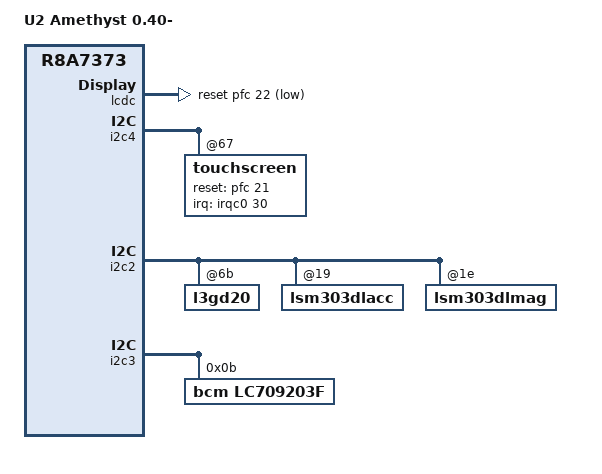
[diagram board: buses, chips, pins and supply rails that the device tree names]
/******************************************************************************/
/*                                                                            */
/* Copyright 2014 Broadcom Corporation                                        */
/*                                                                            */
/* Unless you and Broadcom execute a separate written software license        */
/* agreement governing use of this software, this software is licensed        */
/* to you under the terms of the GNU General Public License version 2         */
/* (the GPL), available at                                                    */
/*                                                                            */
/* http://www.broadcom.com/licenses/GPLv2.php                                 */
/*                                                                            */
/* with the following added to such license:                                  */
/*                                                                            */
/* As a special exception, the copyright holders of this software give        */
/* you permission to link this software with independent modules, and         */
/* to copy and distribute the resulting executable under terms of your        */
/* choice, provided that you also meet, for each linked independent           */
/* module, the terms and conditions of the license of that module.            */
/* An independent module is a module which is not derived from this           */
/* software. The special exception does not apply to any modifications        */
/* of the software.                                                           */
/*                                                                            */
/* Notwithstanding the above, under no circumstances may you combine          */
/* this software in any way with any other Broadcom software provided         */
/* under a license other than the GPL, without Broadcom's express             */
/* prior written consent.                                                     */
/*                                                                            */
/******************************************************************************/

/dts-v1/;
#include "r8a7373.dtsi"
#include "amethyst-common.dtsi"

/{
	model = "U2 Amethyst 0.40-";
	compatible = "renesas,amethyst,r8a7373", "renesas,amethyst", "renesas,r8a7373";

wlan-sdio {
        nv-path = "/system/vendor/firmware/fw_wifi_nvram_amethyst_edn030.txt";
};


};

&lcdc {
	reset-gpio = <&pfc 22 GPIO_ACTIVE_LOW>;
};

&i2c4 {
	touchscreen@67 {
		interrupt-parent = <&irqc0>;
		interrupts = <30 IRQ_TYPE_EDGE_FALLING>;
		reset-gpios = <&pfc 21 GPIO_ACTIVE_HIGH>;
	};
};

&i2c2 {

	/* Gyroscope Sensor */
	l3gd20: l3gd20@6b {
		orientation = /bits/ 8 <0x01 0x00 0x00
					0x00 0x01 0x00
					0x00 0x00 0x01>;
	};

	/* Accelerometer sensor */
	lsm303dlacc: lsm303dlacc@19 {
		orientation = /bits/ 8 <0x00 0x1 0x00
					0xFF 0x00 0x00
					0x00 0x00 0xFF>;
        };

	/* Magnetometer Sensor */
	lsm303dlmag: lsm303dlmag@1e {
		orientation = /bits/ 8 <0x00 0x01 0x00
					0xFF 0x00 0x00
					0x00 0x00 0xFF>;
        };
};

&i2c3 {
	lc709203f@0x0B {
		compatible = "bcm,lc709203f";
		reg = <0x0B>;
		/*reg addr: 0x07, Initial RSOC*/
		initial-rsoc = <0xAA55>;
		/*reg addr: 0x0B, Adjustment Pack Appli*/
		appli-adjustment = <0x0052>;
		/*ite of power off*/
		kernel-threshold-soc = <9>;
		/*ite of full capacity*/
		kernel-maximum-soc = <984>;
		/*ite of 1st charge full*/
		kernel-1stcharge-soc = <995>;
		/*ite of re-charge full*/
		kernel-recharge-soc = <980>;
		/*ite of back charge full*/
		kernel-bakcharge-soc = <995>;
	};
};
